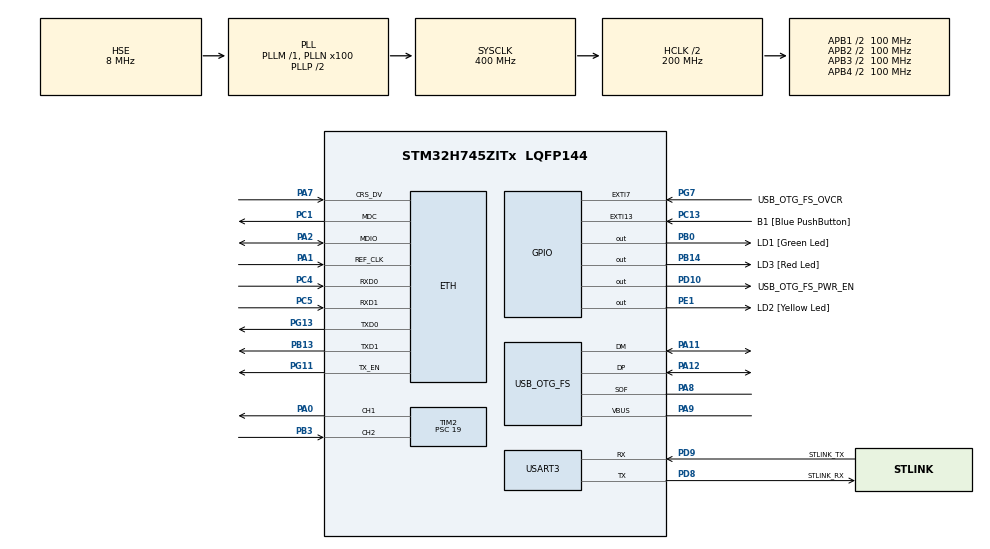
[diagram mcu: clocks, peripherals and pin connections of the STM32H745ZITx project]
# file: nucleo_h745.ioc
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CORTEX_M7.CPU_DCache=Enabled
CORTEX_M7.CPU_ICache=Enabled
CortexM4.IPs=FATFS_M4\:I,FREERTOS_M4\:I,IWDG2\:I,RCC,WWDG2\:I,DMA,BDMA,MDMA,NVIC2\:I,USART3,ETH,DEBUG,USB_DEVICE_M4\:I,USB_HOST_M4\:I,PDM2PCM_M4\:I,PWR,RESMGR_UTILITY,SYS_M4\:I,CORTEX_M4\:I,OPENAMP_M4\:I,VREFBUF,GPIO
CortexM4.Pins=PB0
CortexM7.IPs=FATFS_M7\:I,FREERTOS_M7\:I,IWDG1\:I,RCC\:I,WWDG1\:I,DMA\:I,BDMA\:I,MDMA\:I,NVIC1\:I,SYS\:I,USART3\:I,USB_OTG_FS\:I,ETH\:I,CORTEX_M7\:I,DEBUG\:I,USB_DEVICE_M7\:I,USB_HOST_M7\:I,PDM2PCM_M7\:I,PWR\:I,RESMGR_UTILITY\:I,OPENAMP_M7\:I,VREFBUF\:I,GPIO\:I,TIM2\:I
CortexM7.Pins=PC13,PB14,PD10,PE1
Dma.Request0=TIM2_CH1
Dma.TIM2_CH1.0.Direction=DMA_MEMORY_TO_PERIPH
Dma.TIM2_CH1.0.EventEnable=DISABLE
Dma.TIM2_CH1.0.FIFOMode=DMA_FIFOMODE_ENABLE
Dma.TIM2_CH1.0.FIFOThreshold=DMA_FIFO_THRESHOLD_FULL
Dma.TIM2_CH1.0.Instance=DMA1_Stream0
Dma.TIM2_CH1.0.MemBurst=DMA_MBURST_SINGLE
Dma.TIM2_CH1.0.MemDataAlignment=DMA_MDATAALIGN_WORD
Dma.TIM2_CH1.0.MemInc=DMA_MINC_ENABLE
Dma.TIM2_CH1.0.Mode=DMA_NORMAL
Dma.TIM2_CH1.0.PeriphBurst=DMA_PBURST_SINGLE
Dma.TIM2_CH1.0.PeriphDataAlignment=DMA_PDATAALIGN_WORD
Dma.TIM2_CH1.0.PeriphInc=DMA_PINC_DISABLE
Dma.TIM2_CH1.0.Polarity=HAL_DMAMUX_REQ_GEN_RISING
Dma.TIM2_CH1.0.Priority=DMA_PRIORITY_VERY_HIGH
Dma.TIM2_CH1.0.RequestNumber=1
Dma.TIM2_CH1.0.SignalID=NONE
Dma.TIM2_CH1.0.SyncEnable=DISABLE
Dma.TIM2_CH1.0.SyncPolarity=HAL_DMAMUX_SYNC_NO_EVENT
Dma.TIM2_CH1.0.SyncRequestNumber=1
Dma.TIM2_CH1.0.SyncSignalID=NONE
ETH.MediaInterface=HAL_ETH_RMII_MODE
Mcu.Family=STM32H7
Mcu.Name=STM32H745ZITx
Mcu.Package=LQFP144
NVIC1.DMA1_Stream0_IRQn=true\:0\:0\:false\:false\:true\:false\:true\:true
NVIC1.EXTI15_10_IRQn=true\:0\:0\:false\:false\:true\:true\:true\:true
NVIC1.PriorityGroup=NVIC_PRIORITYGROUP_4
NVIC2.PriorityGroup=NVIC_PRIORITYGROUP_4
PA0.GPIO_PuPd=GPIO_PULLDOWN
PA0.GPIO_Speed=GPIO_SPEED_FREQ_MEDIUM
PA0.PinAttribute=CortexM7
PA0.Signal=S_TIM2_CH1_ETR
PA1.Mode=RMII
PA1.PinAttribute=CortexM7
PA1.Signal=ETH_REF_CLK
PA11.Mode=Device_Only
PA11.PinAttribute=CortexM7
PA11.Signal=USB_OTG_FS_DM
PA12.Mode=Device_Only
PA12.PinAttribute=CortexM7
PA12.Signal=USB_OTG_FS_DP
PA2.Mode=RMII
PA2.PinAttribute=CortexM7
PA2.Signal=ETH_MDIO
PA7.Mode=RMII
PA7.PinAttribute=CortexM7
PA7.Signal=ETH_CRS_DV
PA8.Mode=Activate_SOF_FS
PA8.PinAttribute=CortexM7
PA8.Signal=USB_OTG_FS_SOF
PA9.Mode=Activate_VBUS
PA9.PinAttribute=CortexM7
PA9.Signal=USB_OTG_FS_VBUS
PB0.GPIO_Label=LD1 [Green Led]
PB0.PinAttribute=CortexM4
PB0.Signal=GPIO_Output
PB13.Mode=RMII
PB13.PinAttribute=CortexM7
PB13.Signal=ETH_TXD1
PB14.GPIO_Label=LD3 [Red Led]
PB14.PinAttribute=CortexM7
PB14.Signal=GPIO_Output
PB3\ (JTDO/TRACESWO).GPIO_PuPd=GPIO_PULLDOWN
PB3\ (JTDO/TRACESWO).PinAttribute=CortexM7
PB3\ (JTDO/TRACESWO).Signal=S_TIM2_CH2
PC1.Mode=RMII
PC1.PinAttribute=CortexM7
PC1.Signal=ETH_MDC
PC13.GPIO_Label=B1 [Blue PushButton]
PC13.PinAttribute=CortexM7
PC13.Signal=GPXTI13
PC14-OSC32_IN\ (OSC32_IN).Mode=LSE-External-Oscillator
PC14-OSC32_IN\ (OSC32_IN).PinAttribute=CortexM7
PC14-OSC32_IN\ (OSC32_IN).Signal=RCC_OSC32_IN
PC15-OSC32_OUT\ (OSC32_OUT).Mode=LSE-External-Oscillator
PC15-OSC32_OUT\ (OSC32_OUT).PinAttribute=CortexM7
PC15-OSC32_OUT\ (OSC32_OUT).Signal=RCC_OSC32_OUT
PC4.Mode=RMII
PC4.PinAttribute=CortexM7
PC4.Signal=ETH_RXD0
PC5.Mode=RMII
PC5.PinAttribute=CortexM7
PC5.Signal=ETH_RXD1
PD10.GPIO_Label=USB_OTG_FS_PWR_EN
PD10.PinAttribute=CortexM7
PD10.Signal=GPIO_Output
PD8.GPIO_Label=STLINK_RX
PD8.Mode=Asynchronous
PD8.PinAttribute=CortexM7
PD8.Signal=USART3_TX
PD9.GPIO_Label=STLINK_TX
PD9.Mode=Asynchronous
PD9.PinAttribute=CortexM7
PD9.Signal=USART3_RX
PE1.GPIO_Label=LD2 [Yellow Led]
PE1.PinAttribute=CortexM7
PE1.Signal=GPIO_Output
PG11.Mode=RMII
PG11.PinAttribute=CortexM7
PG11.Signal=ETH_TX_EN
PG13.Mode=RMII
PG13.PinAttribute=CortexM7
PG13.Signal=ETH_TXD0
PG7.GPIO_Label=USB_OTG_FS_OVCR
PG7.PinAttribute=Free
PG7.Signal=GPXTI7
PH0-OSC_IN\ (PH0).Mode=HSE-External-Clock-Source
PH0-OSC_IN\ (PH0).PinAttribute=CortexM7
PH0-OSC_IN\ (PH0).Signal=RCC_OSC_IN
PH1-OSC_OUT\ (PH1).PinAttribute=CortexM7
PH1-OSC_OUT\ (PH1).Signal=RCC_OSC_OUT
ProjectManager.HeapSize=M4-0x200,M7-0x200
ProjectManager.StackSize=M4-0x400,M7-0x400
ProjectManager.TargetToolchain=STM32CubeIDE
RCC.ADCFreq_Value=16125000
RCC.APB1Freq_Value=100000000
RCC.APB2Freq_Value=100000000
RCC.APB3Freq_Value=100000000
RCC.APB4Freq_Value=100000000
RCC.CortexFreq_Value=400000000
RCC.D1PPRE=RCC_APB3_DIV2
RCC.D2PPRE1=RCC_APB1_DIV2
RCC.D2PPRE2=RCC_APB2_DIV2
RCC.D3PPRE=RCC_APB4_DIV2
RCC.DIVM1=1
RCC.DIVM3=1
RCC.DIVN1=100
RCC.DIVN3=18
RCC.DIVQ3=3
RCC.HCLKFreq_Value=200000000
RCC.HPRE=RCC_HCLK_DIV2
RCC.HSE_VALUE=8000000
RCC.PLL2FRACN=0
RCC.PLL3FRACN=6144
RCC.PLLFRACN=0
RCC.SYSCLKFreq_VALUE=400000000
RCC.SYSCLKSource=RCC_SYSCLKSOURCE_PLLCLK
RCC.SupplySource=PWR_DIRECT_SMPS_SUPPLY
RCC.USBCLockSelection=RCC_USBCLKSOURCE_PLL3
RCC.USBFreq_Value=50000000
SH.S_TIM2_CH1_ETR.0=TIM2_CH1,Output Compare1 CH1
SH.S_TIM2_CH2.0=TIM2_CH2,TriggerSource_TI2FP2
TIM2.AutoReloadPreload=TIM_AUTORELOAD_PRELOAD_ENABLE
TIM2.Channel-Output\ Compare1\ CH1=TIM_CHANNEL_1
TIM2.ClockDivision=TIM_CLOCKDIVISION_DIV1
TIM2.CounterMode=TIM_COUNTERMODE_UP
TIM2.OC1Preload=DISABLE
TIM2.OCMode_1=TIM_OCMODE_TOGGLE
TIM2.OCPolarity_1=TIM_OCPOLARITY_HIGH
TIM2.Period=4294967295
TIM2.Prescaler=19
TIM2.Pulse-Output\ Compare1\ CH1=0
TIM2.Slave_TriggerPolarity=TIM_TRIGGERPOLARITY_RISING
USART3.VirtualMode-Asynchronous=VM_ASYNC
USB_OTG_FS.VirtualMode=Device_Only
VP_SYS_M4_VS_Systick.Mode=SysTick
VP_TIM2_VS_ClockSourceINT.Mode=Internal
VP_TIM2_VS_ControllerModeTrigger.Mode=Trigger Mode
VP_TIM2_VS_OPM.Mode=OPM_bit
board=NUCLEO-H745ZI-Q

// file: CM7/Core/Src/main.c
/* USER CODE BEGIN Header */
/**
  ******************************************************************************
  * @file           : main.c
  * @brief          : Main program body
  ******************************************************************************
  * @attention
  *
  * Copyright (c) 2023 STMicroelectronics.
  * All rights reserved.
  *
  * This software is licensed under terms that can be found in the LICENSE file
  * in the root directory of this software component.
  * If no LICENSE file comes with this software, it is provided AS-IS.
  *
  ******************************************************************************
  */
/* USER CODE END Header */
#include "main.h"
#include "dma.h"
#include "eth.h"
#include "tim.h"
#include "usart.h"
#include "usb_otg.h"
#include "gpio.h"

/* USER CODE BEGIN PD */

#ifndef HSEM_ID_0
#define HSEM_ID_0 (0U) /* HW semaphore 0*/
#endif

/* USER CODE END PD */

/* USER CODE BEGIN PM */
// #define TEST_WAVEFORM
/* USER CODE END PM */

/* USER CODE BEGIN PV */
const uint16_t MIN_CYCLE_ON_TIME = 5;  // Expressed in 100 ns intervals.
const uint16_t MAX_CYCLE_ON_TIME = 1000;  // Expressed in 100 ns intervals.
const uint32_t MIN_CYCLE_OFF_TIME = 5;  // Expressed in 100 ns intervals.
const uint32_t MAX_CYCLE_OFF_TIME = 100000;  // Expressed in 100 ns intervals.
const uint8_t MIN_NUM_CYCLE_PER_BURST = 1;
const uint8_t MAX_NUM_CYCLE_PER_BURST = 100;

#define MAX_CCR_VALUE_BUFFER_LEN 800
ALIGN_32BYTES (uint32_t g_ccr_value_buffer[MAX_CCR_VALUE_BUFFER_LEN]);
/* USER CODE END PV */

void SystemClock_Config(void);

/* USER CODE BEGIN 0 */
/**
 * \brief Fill the cycle burst CCR value buffer.
 *
 * \param cycle_on_time The cycle on time in 100 ns intervals. Valid values are
 * from MIN_CYCLE_ON_TIME to MAX_CYCLE_ON_TIME.
 * \param cycle_off_time The cycle off time in 100 ns intervals. Valid values
 * are from MIN_CYCLE_OFF_TIME to MAX_CYCLE_OFF_TIME.
 * \param num_cycle_per_burst The number of cycles per burst (ie. The number of
 * times a cycle should be repeated). Valid values are from
 * MIN_NUM_CYCLE_PER_BURST to MAX_NUM_CYCLE_PER_BURST.
 * \return Returns the number of values added to the DMA CCR value buffer. If an
 * error occured, zero is returned.
 */
uint16_t SetupCycleBurstBuffer(const uint16_t cycle_on_time,
                               const uint32_t cycle_off_time,
                               const uint8_t num_cycle_per_burst) {
#ifdef TEST_WAVEFORM
  g_ccr_value_buffer[0] = 1;
  g_ccr_value_buffer[1] = g_ccr_value_buffer[0] + 5;
  g_ccr_value_buffer[2] = g_ccr_value_buffer[1] + 10;
  g_ccr_value_buffer[3] = g_ccr_value_buffer[2] + 15;
  g_ccr_value_buffer[4] = g_ccr_value_buffer[3] + 20;
  g_ccr_value_buffer[5] = g_ccr_value_buffer[4] + 25;
  return 6;
#endif
  if (cycle_on_time < MIN_CYCLE_ON_TIME ||
      cycle_on_time > MAX_CYCLE_ON_TIME ||
      cycle_off_time < MIN_CYCLE_OFF_TIME ||
      cycle_off_time > MAX_CYCLE_OFF_TIME ||
      num_cycle_per_burst < MIN_NUM_CYCLE_PER_BURST ||
      num_cycle_per_burst > MAX_NUM_CYCLE_PER_BURST) {
    return 0;
  }
  uint32_t tim_cnt = 1;
  uint16_t i = 0, j;
  g_ccr_value_buffer[i++] = tim_cnt;
  for (j = 0; j < num_cycle_per_burst; ++j) {
    tim_cnt += cycle_on_time;
    g_ccr_value_buffer[i++] = tim_cnt;
    if (j+1 < num_cycle_per_burst) {
      tim_cnt += cycle_off_time;
      g_ccr_value_buffer[i++] = tim_cnt;
    }
  }
  return i;
}

void BlinkLed() {
  int i;
  for (i = 0; i < 4; ++i) {
    HAL_GPIO_TogglePin(LD2_GPIO_Port, LD2_Pin);
    HAL_Delay(50);
  }
}
/* USER CODE END 0 */

int main(void)
{
/* USER CODE BEGIN Boot_Mode_Sequence_0 */
  int32_t timeout;
/* USER CODE END Boot_Mode_Sequence_0 */

  /* Enable I-Cache---------------------------------------------------------*/
  SCB_EnableICache();

  /* Enable D-Cache---------------------------------------------------------*/
  SCB_EnableDCache();

/* USER CODE BEGIN Boot_Mode_Sequence_1 */
  /* Wait until CPU2 boots and enters in stop mode or timeout*/
  timeout = 0xFFFF;
  while((__HAL_RCC_GET_FLAG(RCC_FLAG_D2CKRDY) != RESET) && (timeout-- > 0));
  if ( timeout < 0 )
  {
  Error_Handler();
  }
/* USER CODE END Boot_Mode_Sequence_1 */
  /* MCU Configuration--------------------------------------------------------*/

  /* Reset of all peripherals, Initializes the Flash interface and the Systick. */
  HAL_Init();

  /* Configure the system clock */
  SystemClock_Config();
/* USER CODE BEGIN Boot_Mode_Sequence_2 */
/* When system initialization is finished, Cortex-M7 will release Cortex-M4 by means of
HSEM notification */
/*HW semaphore Clock enable*/
__HAL_RCC_HSEM_CLK_ENABLE();
/*Take HSEM */
HAL_HSEM_FastTake(HSEM_ID_0);
/*Release HSEM in order to notify the CPU2(CM4)*/
HAL_HSEM_Release(HSEM_ID_0,0);
/* wait until CPU2 wakes up from stop mode */
timeout = 0xFFFF;
while((__HAL_RCC_GET_FLAG(RCC_FLAG_D2CKRDY) == RESET) && (timeout-- > 0));
if ( timeout < 0 )
{
Error_Handler();
}
/* USER CODE END Boot_Mode_Sequence_2 */

  /* Initialize all configured peripherals */
  MX_GPIO_Init();
  MX_DMA_Init();
  MX_USART3_UART_Init();
  MX_USB_OTG_FS_PCD_Init();
  MX_ETH_Init();
  MX_TIM2_Init();

  /* Infinite loop */
  /* USER CODE BEGIN WHILE */
  bool first_output = true;
  while (1)
  {
    if (g_gpio_user_button) {
      g_gpio_user_button = false;
      uint16_t ccr_value_buffer_len = SetupCycleBurstBuffer(10, 5, 3);
      if (ccr_value_buffer_len) {
        BlinkLed();
        if (first_output) {
          first_output = false;
        }
        else {
          HAL_TIM_OC_Stop_DMA(&htim2, TIM_CHANNEL_1);
          __HAL_TIM_SET_COUNTER(&htim2, 0);
          HAL_TIM_GenerateEvent(&htim2, TIM_EVENTSOURCE_UPDATE);
        }
        SCB_CleanDCache_by_Addr(g_ccr_value_buffer, ccr_value_buffer_len*sizeof(uint32_t));
        HAL_TIM_OC_Start_DMA(&htim2, TIM_CHANNEL_1, g_ccr_value_buffer, ccr_value_buffer_len);
        HAL_TIM_GenerateEvent(&htim2, TIM_EVENTSOURCE_CC1);
        __HAL_TIM_ENABLE(&htim2);
      }
    }
    /* USER CODE END WHILE */

  }
}

void SystemClock_Config(void)
{
  RCC_OscInitTypeDef RCC_OscInitStruct = {0};
  RCC_ClkInitTypeDef RCC_ClkInitStruct = {0};

  /** Supply configuration update enable
  */
  HAL_PWREx_ConfigSupply(PWR_DIRECT_SMPS_SUPPLY);

  /** Configure the main internal regulator output voltage
  */
  __HAL_PWR_VOLTAGESCALING_CONFIG(PWR_REGULATOR_VOLTAGE_SCALE1);

  while(!__HAL_PWR_GET_FLAG(PWR_FLAG_VOSRDY)) {}

  /** Initializes the RCC Oscillators according to the specified parameters
  * in the RCC_OscInitTypeDef structure.
  */
  RCC_OscInitStruct.OscillatorType = RCC_OSCILLATORTYPE_HSE;
  RCC_OscInitStruct.HSEState = RCC_HSE_BYPASS;
  RCC_OscInitStruct.PLL.PLLState = RCC_PLL_ON;
  RCC_OscInitStruct.PLL.PLLSource = RCC_PLLSOURCE_HSE;
  RCC_OscInitStruct.PLL.PLLM = 1;
  RCC_OscInitStruct.PLL.PLLN = 100;
  RCC_OscInitStruct.PLL.PLLP = 2;
  RCC_OscInitStruct.PLL.PLLQ = 2;
  RCC_OscInitStruct.PLL.PLLR = 2;
  RCC_OscInitStruct.PLL.PLLRGE = RCC_PLL1VCIRANGE_3;
  RCC_OscInitStruct.PLL.PLLVCOSEL = RCC_PLL1VCOWIDE;
  RCC_OscInitStruct.PLL.PLLFRACN = 0;
  if (HAL_RCC_OscConfig(&RCC_OscInitStruct) != HAL_OK)
  {
    Error_Handler();
  }

  /** Initializes the CPU, AHB and APB buses clocks
  */
  RCC_ClkInitStruct.ClockType = RCC_CLOCKTYPE_HCLK|RCC_CLOCKTYPE_SYSCLK
                              |RCC_CLOCKTYPE_PCLK1|RCC_CLOCKTYPE_PCLK2
                              |RCC_CLOCKTYPE_D3PCLK1|RCC_CLOCKTYPE_D1PCLK1;
  RCC_ClkInitStruct.SYSCLKSource = RCC_SYSCLKSOURCE_PLLCLK;
  RCC_ClkInitStruct.SYSCLKDivider = RCC_SYSCLK_DIV1;
  RCC_ClkInitStruct.AHBCLKDivider = RCC_HCLK_DIV2;
  RCC_ClkInitStruct.APB3CLKDivider = RCC_APB3_DIV2;
  RCC_ClkInitStruct.APB1CLKDivider = RCC_APB1_DIV2;
  RCC_ClkInitStruct.APB2CLKDivider = RCC_APB2_DIV2;
  RCC_ClkInitStruct.APB4CLKDivider = RCC_APB4_DIV2;

  if (HAL_RCC_ClockConfig(&RCC_ClkInitStruct, FLASH_LATENCY_2) != HAL_OK)
  {
    Error_Handler();
  }
}

void Error_Handler(void)
{
  __disable_irq();
  while (1)
  {
  }
}
